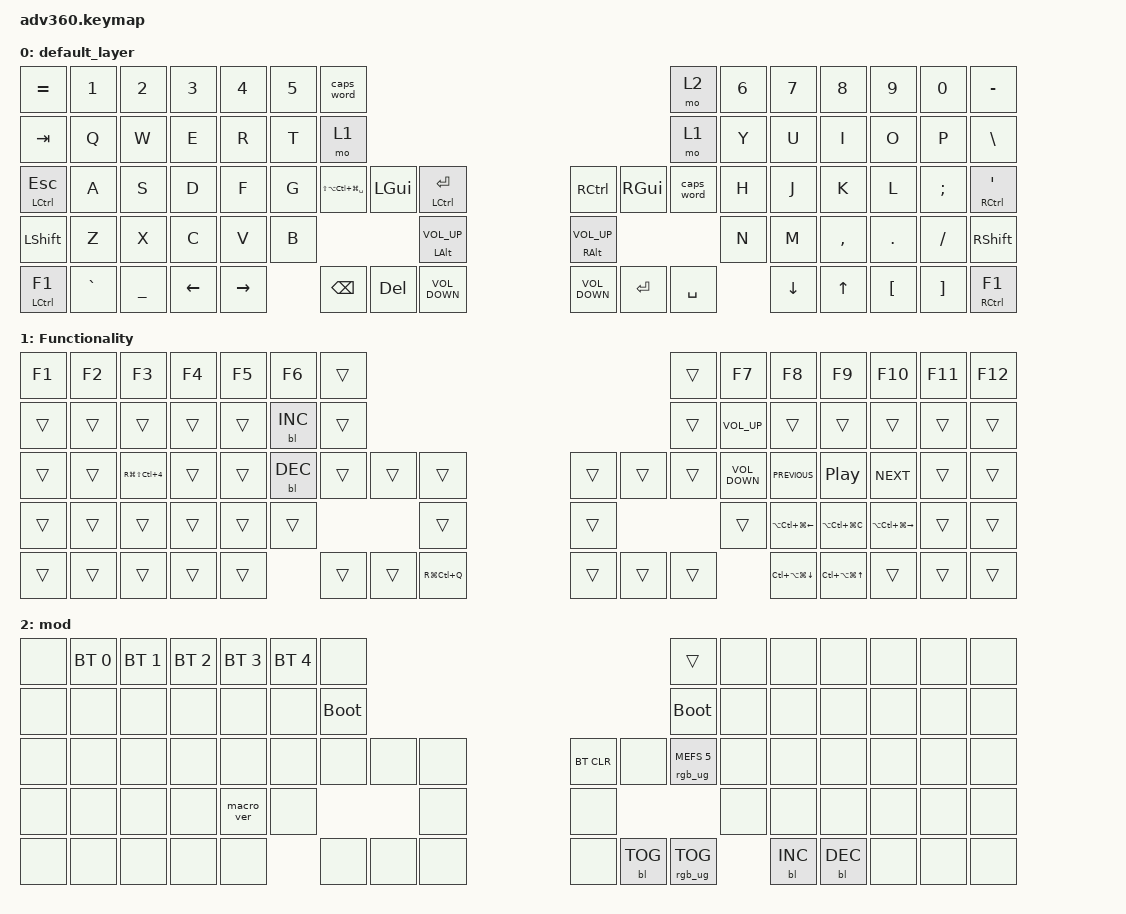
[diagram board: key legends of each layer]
#include <behaviors.dtsi>
#include <dt-bindings/zmk/backlight.h>
#include <dt-bindings/zmk/bt.h>
#include <dt-bindings/zmk/keys.h>
#include <dt-bindings/zmk/rgb.h>

&mt { flavor = "balanced"; };

/ {
    behaviors {
        #include "macros.dtsi"
      #include "version.dtsi"
      #ifndef VERSION_MACRO

        macro_ver: macro_ver {
            compatible = "zmk,behavior-macro";
            label = "macro_version";
            #binding-cells = <0>;
            bindings = <&kp RET>;
        };

        #endif

        hm: homerow_mods {
            compatible = "zmk,behavior-hold-tap";
            label = "HOMEROW_MODS";
            #binding-cells = <2>;
            tapping-term-ms = <280>;
            quick_tap_ms = <175>;
            flavor = "balanced";
            bindings = <&kp>, <&kp>;

            quick-tap-ms = <175>;
            require-prior-idle-ms = <150>;
            hold-trigger-on-release;
        };
    };

    macros {
    };

    combos { compatible = "zmk,combos"; };

    keymap {
        compatible = "zmk,keymap";

        default_layer {
            bindings = <
&kp EQUAL            &kp N1     &kp N2     &kp N3    &kp N4     &kp N5  &caps_word                                                                                                       &mo 2       &kp N6  &kp N7    &kp N8        &kp N9    &kp N0         &kp MINUS
&kp TAB              &kp Q      &kp W      &kp E     &kp R      &kp T   &mo 1                                                                                                            &mo 1       &kp Y   &kp U     &kp I         &kp O     &kp P          &kp BSLH
&mt LCTRL ESC        &kp A      &kp S      &kp D     &kp F      &kp G   &kp LS(LA(LC(LG(SPACE))))  &kp LEFT_GUI  &mt LCTRL ENTER               &kp RIGHT_CONTROL          &kp RIGHT_GUI  &caps_word  &kp H   &kp J     &kp K         &kp L     &kp SEMICOLON  &mt RIGHT_CONTROL SQT
&kp LSHFT            &kp Z      &kp X      &kp C     &kp V      &kp B                                            &mt LEFT_ALT C_VOLUME_UP      &mt RIGHT_ALT C_VOLUME_UP                             &kp N   &kp M     &kp COMMA     &kp DOT   &kp FSLH       &kp RSHFT
&mt LEFT_CONTROL F1  &kp GRAVE  &kp UNDER  &kp LEFT  &kp RIGHT          &kp BSPC                   &kp DELETE    &kp C_VOLUME_DOWN             &kp C_VOLUME_DOWN          &kp ENTER      &kp SPACE           &kp DOWN  &kp UP_ARROW  &kp LBKT  &kp RBKT       &mt RCTRL F1
            >;
        };

        Functionality {
            bindings = <
&kp F1  &kp F2  &kp F3                    &kp F4  &kp F5  &kp F6      &trans                                             &trans  &kp F7             &kp F8                &kp F9                    &kp F10                &kp F11  &kp F12
&trans  &trans  &trans                    &trans  &trans  &bl BL_INC  &trans                                             &trans  &kp C_VOLUME_UP    &trans                &trans                    &trans                 &trans   &trans
&trans  &trans  &kp RG(LS(LC(NUMBER_4)))  &trans  &trans  &bl BL_DEC  &trans  &trans  &trans             &trans  &trans  &trans  &kp C_VOLUME_DOWN  &kp C_PREVIOUS        &kp C_PLAY_PAUSE          &kp C_NEXT             &trans   &trans
&trans  &trans  &trans                    &trans  &trans  &trans                      &trans             &trans                  &trans             &kp LA(LC(LG(LEFT)))  &kp LA(LC(LG(C)))         &kp LA(LC(LG(RIGHT)))  &trans   &trans
&trans  &trans  &trans                    &trans  &trans              &trans  &trans  &kp RG(LC(Q))      &trans  &trans  &trans                     &kp LC(LA(LG(DOWN)))  &kp LC(LA(LG(UP_ARROW)))  &trans                 &trans   &trans
            >;
        };

        mod {
            bindings = <
&none  &bt BT_SEL 0  &bt BT_SEL 1  &bt BT_SEL 2  &bt BT_SEL 3  &bt BT_SEL 4  &none                                                  &trans                  &none  &none       &none       &none  &none  &none
&none  &none         &none         &none         &none         &none         &bootloader                                            &bootloader             &none  &none       &none       &none  &none  &none
&none  &none         &none         &none         &none         &none         &none        &none  &none      &bt BT_CLR  &none       &rgb_ug RGB_MEFS_CMD 5  &none  &none       &none       &none  &none  &none
&none  &none         &none         &none         &macro_ver    &none                             &none      &none                                           &none  &none       &none       &none  &none  &none
&none  &none         &none         &none         &none                       &none        &none  &none      &none       &bl BL_TOG  &rgb_ug RGB_TOG                &bl BL_INC  &bl BL_DEC  &none  &none  &none
            >;
        };
    };
};
